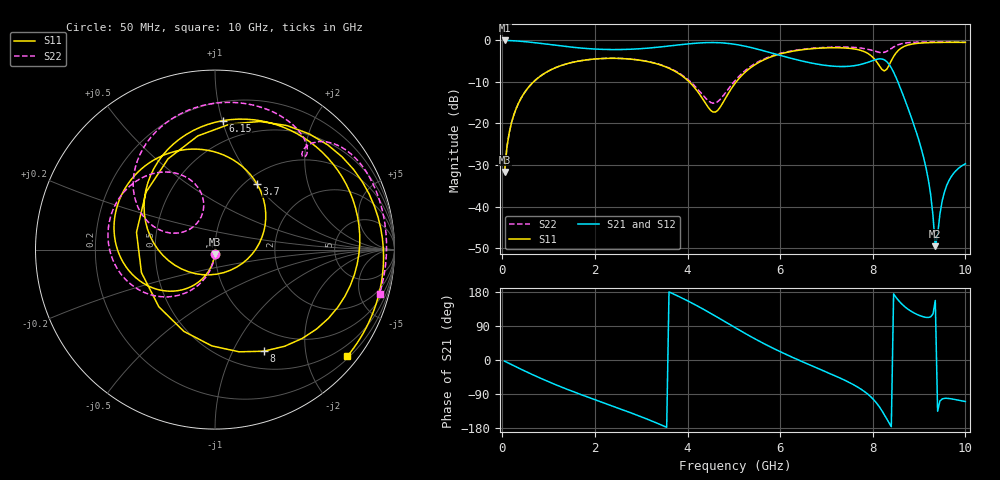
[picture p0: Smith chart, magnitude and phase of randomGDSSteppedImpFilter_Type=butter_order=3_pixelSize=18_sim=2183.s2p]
! freq	dB(S11)	phase(S11)	dB(S12)	phase(S12)
!  dB(S21)	phase(S21)	dB(S22)	phase(S22)
!S-par simulation data
#  GHz  S  DB  R 50
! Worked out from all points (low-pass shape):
!   200 points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, 50 MHz to 10 GHz, reference 50 ohm
!   highest |S21| = -0.01 dB at 50 MHz (marker M1); lowest = -49.5 dB at 9.35 GHz (marker M2)
!   |S21| within 3 dB of the highest: start of sweep to 5.81 GHz
!   lowest |S11| = -31.7 dB at 50 MHz (marker M3), VSWR 1.05, Z = 49.8 - j2.6 ohm
!   |S11| at or under -10 dB: start of sweep to 673.7 MHz; 4.037 GHz to 5.05 GHz (1.013 GHz wide, 22.3 % of centre)
!   |S22| runs from -31.6 to -0.4 dB; largest |S21 - S12| = 0
!   S11 on the Smith chart (normalised r, x): 50 MHz: 1.00, -0.05; 3.7 GHz: 1.13, +1.01; 6.15 GHz: 0.34, +1.00; 8 GHz: 0.71, -1.33; 10 GHz: 0.24, -2.81
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0.05  -31.65 -93.5  -0.01 -3.1  -0.01 -3.1  -31.65 -93.0
0.2  -19.78 -103.5  -0.06 -12.2  -0.06 -12.2  -19.77 -101.8
0.5  -12.25 -122.7  -0.31 -29.9  -0.31 -29.9  -12.24 -118.3
1.75  -4.79 167.7  -1.89 -93.6  -1.89 -93.6  -4.78 -175.9
2.7  -4.44 119.2  -2.15 -135.9  -2.15 -135.9  -4.42 148.3
3.4  -5.85 78.5  -1.59 -169.7  -1.59 -169.7  -5.79 122.6
3.7  -7.25 57.3  -1.22 174.0  -1.22 174.0  -7.14 112.3
4.55  -17.24 -68.7  -0.51 119.6  -0.51 119.6  -15.12 129.5
5.05  -10.00 -179.7  -0.99 83.7  -0.99 83.7  -9.36 160.2
5.55  -5.23 130.9  -2.22 49.6  -2.22 49.6  -5.00 143.9
6.15  -2.86 86.6  -4.05 13.5  -4.05 13.5  -2.74 117.7
6.7  -1.98 51.5  -5.50 -16.1  -5.50 -16.1  -1.88 94.9
7.5  -1.91 -1.7  -6.22 -59.8  -6.22 -59.8  -1.62 63.7
8  -4.05 -64.4  -4.85 -102.3  -4.85 -102.3  -2.44 47.0
8.15  -6.24 -110.8  -4.43 -125.0  -4.43 -125.0  -2.90 46.1
8.35  -6.02 140.2  -5.73 -165.7  -5.73 -165.7  -2.30 48.6
8.5  -3.04 83.2  -8.87 165.7  -8.87 165.7  -1.28 44.1
8.75  -1.14 36.1  -15.99 135.0  -15.99 135.0  -0.56 31.9
9.15  -0.56 0.6  -30.70 112.5  -30.70 112.5  -0.38 15.1
9.35  -0.49 -11.1  -49.55 157.0  -49.55 157.0  -0.38 7.6
9.6  -0.46 -23.0  -34.84 -101.1  -34.84 -101.1  -0.40 -1.3
10  -0.47 -39.0  -29.71 -109.7  -29.71 -109.7  -0.45 -15.1
